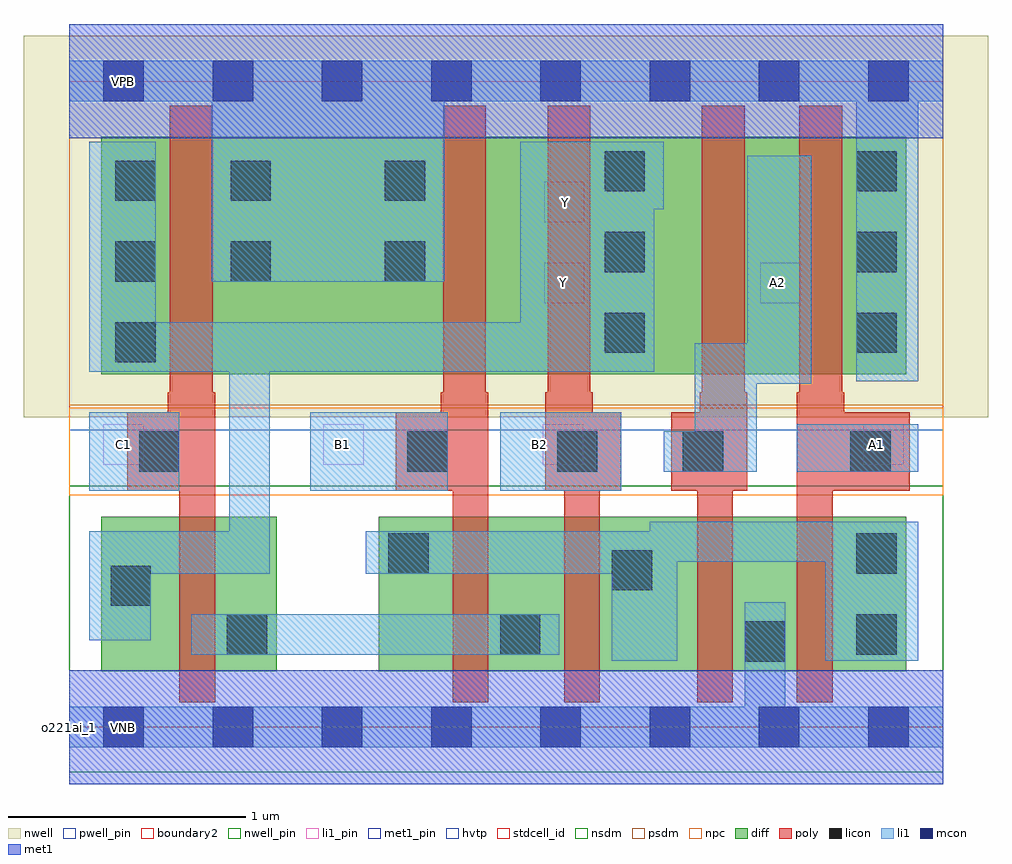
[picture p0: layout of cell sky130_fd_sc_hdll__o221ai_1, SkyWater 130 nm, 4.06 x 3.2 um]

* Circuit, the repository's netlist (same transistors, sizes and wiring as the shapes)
* Copyright 2020 The SkyWater PDK Authors
*
* Licensed under the Apache License, Version 2.0 (the "License");
* you may not use this file except in compliance with the License.
* You may obtain a copy of the License at
*
*     https://www.apache.org/licenses/LICENSE-2.0
*
* Unless required by applicable law or agreed to in writing, software
* distributed under the License is distributed on an "AS IS" BASIS,
* WITHOUT WARRANTIES OR CONDITIONS OF ANY KIND, either express or implied.
* See the License for the specific language governing permissions and
* limitations under the License.
*
* SPDX-License-Identifier: Apache-2.0

.SUBCKT sky130_fd_sc_hdll__o221ai_1 A1 A2 B1 B2 C1 VGND VNB VPB VPWR Y
*.PININFO A1:I A2:I B1:I B2:I C1:I VGND:I VNB:I VPB:I VPWR:I Y:O
MMPA0 VPWR A1 sndA1 VPB sky130_fd_pr__pfet_01v8_hvt m=1 w=1.0U l=0.18U mult=1 sa=0.265
+ sb=0.265 sd=0.28 area=0.063 perim=1.14
MMPA1 sndA1 A2 Y VPB sky130_fd_pr__pfet_01v8_hvt m=1 w=1.0U l=0.18U mult=1 sa=0.265
+ sb=0.265 sd=0.28 area=0.063 perim=1.14
MMPB0 VPWR B1 sndB1 VPB sky130_fd_pr__pfet_01v8_hvt m=1 w=1.0U l=0.18U mult=1 sa=0.265
+ sb=0.265 sd=0.28 area=0.063 perim=1.14
MMPB1 sndB1 B2 Y VPB sky130_fd_pr__pfet_01v8_hvt m=1 w=1.0U l=0.18U mult=1 sa=0.265
+ sb=0.265 sd=0.28 area=0.063 perim=1.14
MMPC0 VPWR C1 Y VPB sky130_fd_pr__pfet_01v8_hvt m=1 w=1.0U l=0.18U mult=1 sa=0.265
+ sb=0.265 sd=0.28 area=0.063 perim=1.14
MMNA0 pndA A1 VGND VNB sky130_fd_pr__nfet_01v8 m=1 w=0.65U l=0.15U mult=1 sa=0.265
+ sb=0.265 sd=0.28 area=0.063 perim=1.14
MMNA1 pndA A2 VGND VNB sky130_fd_pr__nfet_01v8 m=1 w=0.65U l=0.15U mult=1 sa=0.265
+ sb=0.265 sd=0.28 area=0.063 perim=1.14
MMNB0 pndB B1 pndA VNB sky130_fd_pr__nfet_01v8 m=1 w=0.65U l=0.15U mult=1 sa=0.265
+ sb=0.265 sd=0.28 area=0.063 perim=1.14
MMNB1 pndB B2 pndA VNB sky130_fd_pr__nfet_01v8 m=1 w=0.65U l=0.15U mult=1 sa=0.265
+ sb=0.265 sd=0.28 area=0.063 perim=1.14
MMNC0 Y C1 pndB VNB sky130_fd_pr__nfet_01v8 m=1 w=0.65U l=0.15U mult=1 sa=0.265
+ sb=0.265 sd=0.28 area=0.063 perim=1.14
.ENDS sky130_fd_sc_hdll__o221ai_1

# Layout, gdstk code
import gdstk
lib = gdstk.Library(unit=1e-6, precision=1e-09)
def R(c, l, rs):  # rectangles x0, y0, x1, y1
    for r in rs: c.add(gdstk.rectangle(r[:2], r[2:], *l))
def A(c, l, x, y, w, h, nx, ny, dx, dy):  # array of equal rectangles
    R(c, l, [(x+i*dx, y+j*dy, x+i*dx+w, y+j*dy+h) for i in range(nx) for j in range(ny)])
def P(c, l, *ps):  # polygons
    for p in ps: c.add(gdstk.Polygon(p, *l))
nwell_pin = (64, 16)
nwell = (64, 20)
diff = (65, 20)
poly = (66, 20)
licon = (66, 44)
li1_pin = (67, 16)
li1 = (67, 20)
mcon = (67, 44)
met1_pin = (68, 16)
met1 = (68, 20)
hvtp = (78, 44)
stdcell_id = (81, 4)
nsdm = (93, 44)
psdm = (94, 20)
npc = (95, 20)
pwell_pin = (122, 16)
boundary2 = (236, 0)

sky130_fd_sc_hdll__o221a = lib.new_cell('sky130_fd_sc_hdll__o221ai_1')
R(sky130_fd_sc_hdll__o221a, nwell_pin, [(0.145,2.635,0.315,2.805)])
R(sky130_fd_sc_hdll__o221a, nwell, [(-0.19,1.305,3.87,2.91)])
R(sky130_fd_sc_hdll__o221a, diff, [(0.135,0.235,0.875,0.885), (1.305,0.235,3.525,0.885), (0.135,1.485,3.525,2.485)])
P(sky130_fd_sc_hdll__o221a, poly, [(0.615,1.41),(0.605,1.41),(0.605,2.615),(0.425,2.615),(0.425,1.41),(0.415,1.41),(0.415,1.325),(0.245,1.325),(0.245,0.995),(0.465,0.995),(0.465,0.105),(0.615,0.105)],
  [(1.765,1.41),(1.755,1.41),(1.755,2.615),(1.575,2.615),(1.575,1.41),(1.565,1.41),(1.565,1.325),(1.375,1.325),(1.375,0.995),(1.615,0.995),(1.615,0.105),(1.765,0.105)],
  [(2.325,1.325),(2.205,1.325),(2.205,1.41),(2.195,1.41),(2.195,2.615),(2.015,2.615),(2.015,1.41),(2.005,1.41),(2.005,0.995),(2.085,0.995),(2.085,0.105),(2.235,0.105),(2.235,0.995),(2.325,0.995)],
  [(2.855,1.41),(2.845,1.41),(2.845,2.615),(2.665,2.615),(2.665,1.41),(2.655,1.41),(2.655,1.325),(2.535,1.325),(2.535,0.995),(2.645,0.995),(2.645,0.105),(2.795,0.105),(2.795,0.995),(2.855,0.995)],
  [(3.54,1.325),(3.265,1.325),(3.265,1.41),(3.255,1.41),(3.255,2.615),(3.075,2.615),(3.075,1.41),(3.065,1.41),(3.065,0.105),(3.215,0.105),(3.215,0.995),(3.54,0.995)])
A(sky130_fd_sc_hdll__o221a, licon, 0.195, 1.535, 0.17, 0.17, 1, 3, 0, 0.34)
A(sky130_fd_sc_hdll__o221a, licon, 2.255, 1.575, 0.17, 0.17, 1, 3, 0, 0.34)
A(sky130_fd_sc_hdll__o221a, licon, 3.315, 1.575, 0.17, 0.17, 1, 3, 0, 0.34)
R(sky130_fd_sc_hdll__o221a, licon, [(2.845,0.275,3.015,0.445), (0.665,0.305,0.835,0.475), (1.815,0.305,1.985,0.475), (3.315,0.305,3.485,0.475), (0.175,0.51,0.345,0.68), (2.285,0.575,2.455,0.745), (1.345,0.645,1.515,0.815), (3.315,0.645,3.485,0.815), (0.295,1.075,0.465,1.245), (1.425,1.075,1.595,1.245), (2.055,1.075,2.225,1.245), (2.585,1.075,2.755,1.245), (3.29,1.075,3.46,1.245), (0.68,1.875,0.85,2.045), (1.33,1.875,1.5,2.045), (0.68,2.215,0.85,2.385), (1.33,2.215,1.5,2.385)])
A(sky130_fd_sc_hdll__o221a, li1_pin, 0.145, 1.105, 0.17, 0.17, 3, 1, 0.925, 0)
R(sky130_fd_sc_hdll__o221a, li1_pin, [(3.345,1.105,3.515,1.275), (2,1.785,2.17,1.955), (2.91,1.785,3.08,1.955), (2,2.125,2.17,2.295)])
R(sky130_fd_sc_hdll__o221a, li1, [(0.515,0.305,2.065,0.475), (0.085,0.995,0.465,1.325), (1.015,0.995,1.595,1.325), (1.815,0.995,2.325,1.325), (3.065,1.075,3.575,1.275)])
P(sky130_fd_sc_hdll__o221a, li1, [(3.575,0.865),(2.445,0.865),(2.445,0.825),(1.25,0.825),(1.25,0.645),(2.285,0.645),(2.285,0.28),(2.56,0.28),(2.56,0.695),(3.185,0.695),(3.185,0.28),(3.575,0.28)],
  [(3.68,2.805),(0,2.805),(0,2.635),(0.6,2.635),(0.6,1.875),(1.58,1.875),(1.58,2.635),(3.315,2.635),(3.315,1.455),(3.575,1.455),(3.575,2.635),(3.68,2.635)],
  [(3.68,0.085),(3.015,0.085),(3.015,0.525),(2.845,0.525),(2.845,0.085),(0,0.085),(0,-0.085),(3.68,-0.085)],
  [(2.465,2.18),(2.505,2.18),(2.505,2.465),(1.9,2.465),(1.9,1.705),(0.365,1.705),(0.365,2.465),(0.085,2.465),(0.085,1.495),(0.675,1.495),(0.675,0.825),(0.085,0.825),(0.085,0.365),(0.345,0.365),(0.345,0.645),(0.845,0.645),(0.845,1.495),(2.465,1.495)],
  [(3.125,2.405),(2.855,2.405),(2.855,1.615),(2.635,1.615),(2.635,1.245),(2.505,1.245),(2.505,1.075),(2.895,1.075),(2.895,1.445),(3.125,1.445)])
A(sky130_fd_sc_hdll__o221a, mcon, 0.145, -0.085, 0.17, 0.17, 8, 2, 0.46, 2.72)
R(sky130_fd_sc_hdll__o221a, met1_pin, [(0.145,-0.085,0.315,0.085), (0.145,2.635,0.315,2.805)])
R(sky130_fd_sc_hdll__o221a, met1, [(0,-0.24,3.68,0.24), (0,2.48,3.68,2.96)])
R(sky130_fd_sc_hdll__o221a, hvtp, [(0,1.25,3.68,2.72)])
R(sky130_fd_sc_hdll__o221a, stdcell_id, [(0,0,3.68,2.72)])
R(sky130_fd_sc_hdll__o221a, nsdm, [(0,-0.19,3.68,1.015)])
R(sky130_fd_sc_hdll__o221a, psdm, [(0,1.355,3.68,2.91)])
R(sky130_fd_sc_hdll__o221a, npc, [(0,0.975,3.68,1.345)])
R(sky130_fd_sc_hdll__o221a, pwell_pin, [(0.145,-0.085,0.315,0.085)])
R(sky130_fd_sc_hdll__o221a, boundary2, [(0,0,3.68,2.72)])
sky130_fd_sc_hdll__o221a.add(gdstk.Label('A2', (2.985,1.87), layer=67, texttype=5))
sky130_fd_sc_hdll__o221a.add(gdstk.Label('Y', (2.09,2.21), layer=67, texttype=5))
sky130_fd_sc_hdll__o221a.add(gdstk.Label('B1', (1.15,1.19), layer=67, texttype=5))
sky130_fd_sc_hdll__o221a.add(gdstk.Label('C1', (0.23,1.19), layer=67, texttype=5))
sky130_fd_sc_hdll__o221a.add(gdstk.Label('A1', (3.4,1.19), layer=67, texttype=5))
sky130_fd_sc_hdll__o221a.add(gdstk.Label('Y', (2.08,1.87), layer=67, texttype=5))
sky130_fd_sc_hdll__o221a.add(gdstk.Label('B2', (1.98,1.19), layer=67, texttype=5))
sky130_fd_sc_hdll__o221a.add(gdstk.Label('VPB', (0.23,2.72), layer=64, texttype=5))
sky130_fd_sc_hdll__o221a.add(gdstk.Label('VNB', (0.23,0), layer=64, texttype=59))
sky130_fd_sc_hdll__o221a.add(gdstk.Label('VGND', (0.23,0), layer=68, texttype=5))
sky130_fd_sc_hdll__o221a.add(gdstk.Label('VPWR', (0.23,2.72), layer=68, texttype=5))
sky130_fd_sc_hdll__o221a.add(gdstk.Label('o221ai_1', (0,0), layer=83, texttype=44))

lib.write_gds('sky130_fd_sc_hdll__o221ai_1.gds')
